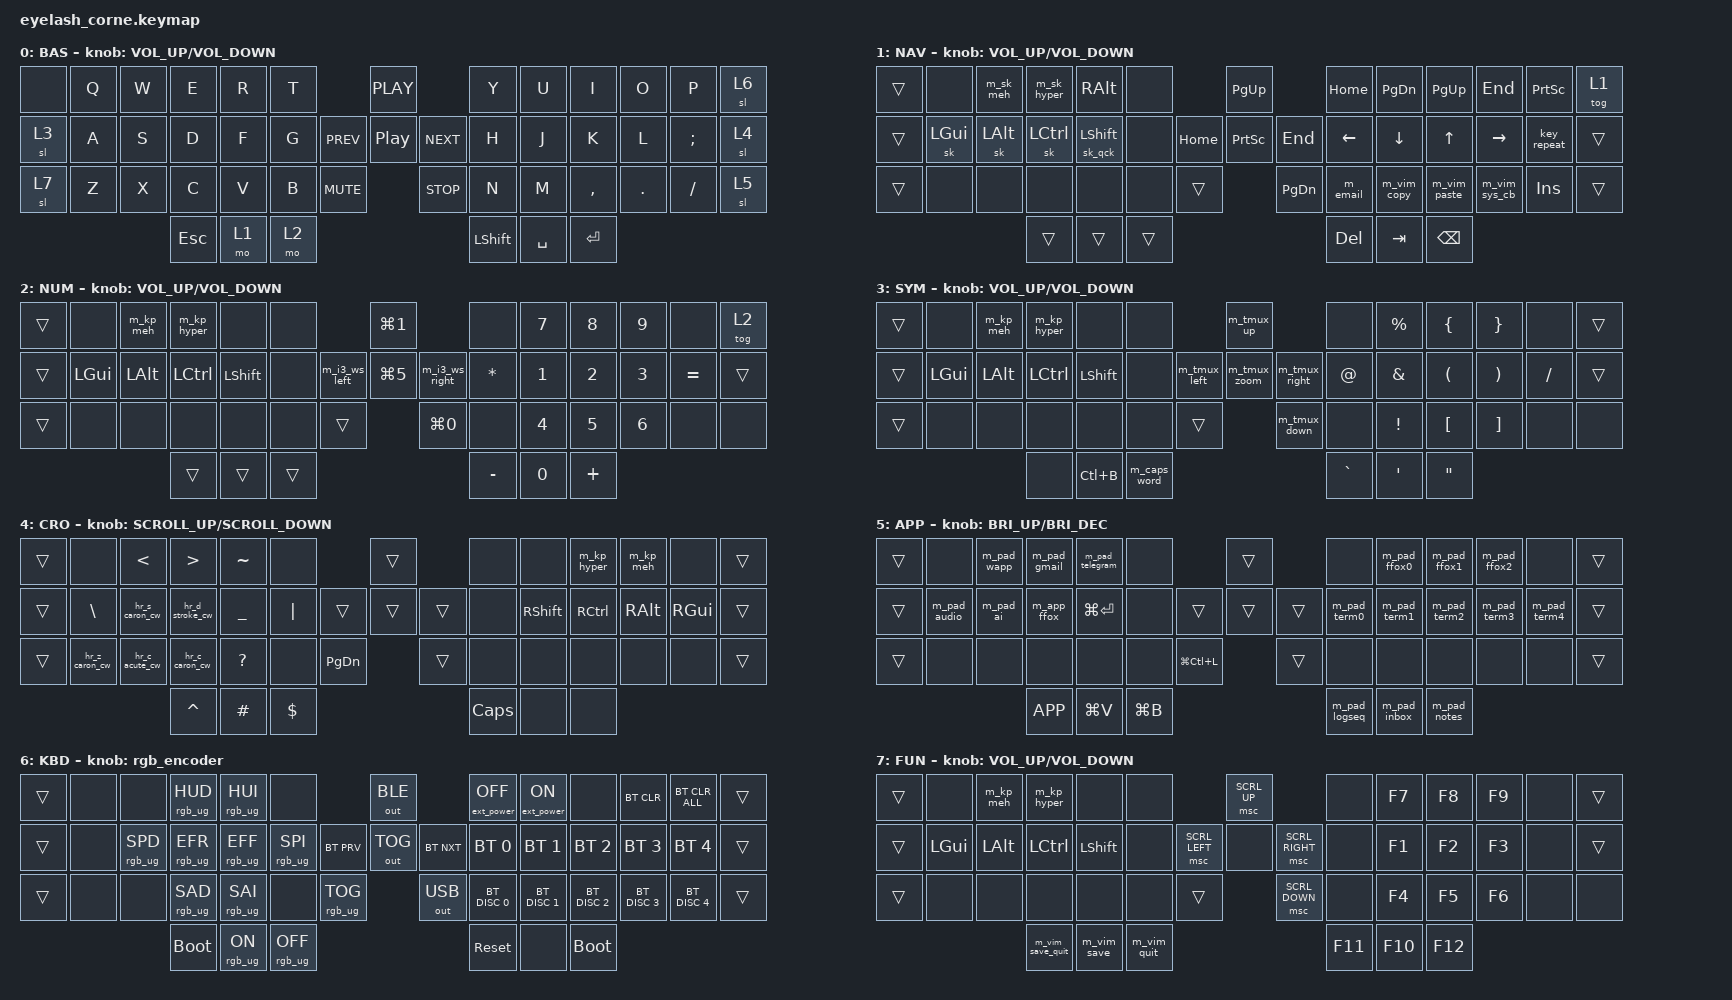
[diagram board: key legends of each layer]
#include <behaviors.dtsi>
#include <dt-bindings/zmk/bt.h>
#include <dt-bindings/zmk/keys.h>
#include <dt-bindings/zmk/mouse.h>
#include <dt-bindings/zmk/outputs.h>
#include <dt-bindings/zmk/pointing.h>
#include <dt-bindings/zmk/rgb.h>
#include <dt-bindings/zmk/ext_power.h>

/ {
    behaviors {
        sk_qck: sk_qck {
          compatible = "zmk,behavior-sticky-key";
          #binding-cells = <1>;
          bindings = <&kp>;
          release-after-ms = <3000>;
          quick-release;
          ignore-modifiers;
        };

        m_email: m_email {
          compatible = "zmk,behavior-macro";
          #binding-cells = <0>;
          wait-ms = <10>;   // Optional: delay between actions
          tap-ms = <10>;    // Optional: hold duration for tap-type actions
          bindings =
            <
              &kp I &kp G &kp O &kp R
              &kp PERIOD
              &kp K &kp O &kp V &kp A &kp C &kp E &kp V &kp I &kp C
              &kp AT
              &kp G &kp M &kp A &kp I &kp L
              &kp PERIOD
              &kp C &kp O &kp M
            >;
        };

        m_vim_copy: m_vim_copy {
          compatible = "zmk,behavior-macro";
          #binding-cells = <0>;
          bindings = <&kp DQT &kp PLUS &kp Y>;
        };

        m_vim_paste: m_vim_paste {
          compatible = "zmk,behavior-macro";
          #binding-cells = <0>;
          bindings = <&kp DQT &kp PLUS &kp P>;
        };

        m_vim_save: m_vim_save {
          compatible = "zmk,behavior-macro";
          #binding-cells = <0>;
          bindings = <&kp COLON &kp W &kp ENTER>;
        };

        m_vim_quit: m_vim_quit {
          compatible = "zmk,behavior-macro";
          #binding-cells = <0>;
          bindings = <&kp COLON &kp Q &kp ENTER>;
        };

        m_vim_save_quit: m_vim_save_quit {
          compatible = "zmk,behavior-macro";
          #binding-cells = <0>;
          bindings = <&kp COLON &kp W &kp Q &kp ENTER>;
        };


        m_vim_sys_cb: m_vim_sys_cb {
          compatible = "zmk,behavior-macro";
          #binding-cells = <0>;
          bindings = <&kp DQT &kp PLUS>;
        };

        m_sk_meh: m_sk_meh {
          compatible = "zmk,behavior-macro";
          #binding-cells = <0>;
          bindings = <&sk LA(LC(LSHIFT))>;
        };

        m_sk_hyper: m_sk_hyper {
          compatible = "zmk,behavior-macro";
          #binding-cells = <0>;
          bindings = <&sk LG(LA(LC(LSHIFT)))>;
        };

        m_kp_meh: m_kp_meh {
          compatible = "zmk,behavior-macro";
          #binding-cells = <0>;
          bindings = <&kp LA(LC(LSHIFT))>;
        };

        m_kp_hyper: m_kp_hyper {
          compatible = "zmk,behavior-macro";
          #binding-cells = <0>;
          bindings = <&kp LG(LA(LC(LSHIFT)))>;
        };

        m_i3_ws_left: m_i3_ws_left {
          compatible = "zmk,behavior-macro";
          #binding-cells = <0>;
          bindings = <&kp LG(LA(LC(LS(LEFT))))>;
        };

        m_i3_ws_right: m_i3_ws_right {
          compatible = "zmk,behavior-macro";
          #binding-cells = <0>;
          bindings = <&kp LG(LA(LC(LS(RIGHT))))>;
        };

        m_tmux_up: m_tmux_up {
          compatible = "zmk,behavior-macro";
          #binding-cells = <0>;
          bindings = <&kp LC(B) &kp K>;
        };

        m_tmux_down: m_tmux_down {
          compatible = "zmk,behavior-macro";
          #binding-cells = <0>;
          bindings = <&kp LC(B) &kp J>;
        };

        m_tmux_left: m_tmux_left {
          compatible = "zmk,behavior-macro";
          #binding-cells = <0>;
          bindings = <&kp LC(B) &kp H>;
        };

        m_tmux_right: m_tmux_right {
          compatible = "zmk,behavior-macro";
          #binding-cells = <0>;
          bindings = <&kp LC(B) &kp L>;
        };

        m_tmux_zoom: m_tmux_zoom {
          compatible = "zmk,behavior-macro";
          #binding-cells = <0>;
          bindings = <&kp LC(B) &kp Z>;
        };

        m_pad_wapp: m_pad_wapp {
          compatible = "zmk,behavior-macro";
          #binding-cells = <0>;
          bindings = <&kp LG(P) &kp W>;
        };

        m_pad_gmail: m_pad_gmail {
          compatible = "zmk,behavior-macro";
          #binding-cells = <0>;
          bindings = <&kp LG(P) &kp M>;
        };

        m_pad_telegram: m_pad_telegram {
          compatible = "zmk,behavior-macro";
          #binding-cells = <0>;
          bindings = <&kp LG(P) &kp T>;
        };

        m_pad_logseq: m_pad_logseq {
          compatible = "zmk,behavior-macro";
          #binding-cells = <0>;
          bindings = <&kp LG(P) &kp L>;
        };

        m_pad_inbox: m_pad_inbox {
          compatible = "zmk,behavior-macro";
          #binding-cells = <0>;
          bindings = <&kp LG(P) &kp I>;
        };

        m_pad_notes: m_pad_notes {
          compatible = "zmk,behavior-macro";
          #binding-cells = <0>;
          bindings = <&kp LG(P) &kp N>;
        };

        m_pad_ffox0: m_pad_ffox0 {
          compatible = "zmk,behavior-macro";
          #binding-cells = <0>;
          bindings = <&kp LG(P) &kp N7>;
        };

        m_pad_ffox1: m_pad_ffox1 {
          compatible = "zmk,behavior-macro";
          #binding-cells = <0>;
          bindings = <&kp LG(P) &kp N8>;
        };

        m_pad_ffox2: m_pad_ffox2 {
          compatible = "zmk,behavior-macro";
          #binding-cells = <0>;
          bindings = <&kp LG(P) &kp N9>;
        };

        m_pad_audio: m_pad_audio {
          compatible = "zmk,behavior-macro";
          #binding-cells = <0>;
          bindings = <&kp LG(P) &kp A>;
        };

        m_pad_ai: m_pad_ai {
          compatible = "zmk,behavior-macro";
          #binding-cells = <0>;
          bindings = <&kp LG(P) &kp C>;
        };

        m_pad_term0: m_pad_term0 {
          compatible = "zmk,behavior-macro";
          #binding-cells = <0>;
          bindings = <&kp LG(P) &kp N0>;
        };

        m_pad_term1: m_pad_term1 {
          compatible = "zmk,behavior-macro";
          #binding-cells = <0>;
          bindings = <&kp LG(P) &kp N1>;
        };

        m_pad_term2: m_pad_term2 {
          compatible = "zmk,behavior-macro";
          #binding-cells = <0>;
          bindings = <&kp LG(P) &kp N2>;
        };

        m_pad_term3: m_pad_term3 {
          compatible = "zmk,behavior-macro";
          #binding-cells = <0>;
          bindings = <&kp LG(P) &kp N3>;
        };

        m_pad_term4: m_pad_term4 {
          compatible = "zmk,behavior-macro";
          #binding-cells = <0>;
          bindings = <&kp LG(P) &kp N4>;
        };

        m_app_ffox: m_app_ffox {
          compatible = "zmk,behavior-macro";
          #binding-cells = <0>;
          bindings = <&kp LG(X) &kp F>;
        };

        m_app_term: m_app_term {
          compatible = "zmk,behavior-macro";
          #binding-cells = <0>;
          bindings = <&kp LG(X) &kp F>;
        };

        // Croatian characters with caps word support
        hr_c_acute_cw: hr_c_acute_cw {
          compatible = "zmk,behavior-mod-morph";
          #binding-cells = <0>;
          mods = <(MOD_LSFT|MOD_RSFT)>;
          bindings = <&m_hr_c_acute>, <&m_hr_c_acute_upper>;
        };

        hr_c_caron_cw: hr_c_caron_cw {
          compatible = "zmk,behavior-mod-morph";
          #binding-cells = <0>;
          mods = <(MOD_LSFT|MOD_RSFT)>;
          bindings = <&m_hr_c_caron>, <&m_hr_c_caron_upper>;
        };

        hr_d_stroke_cw: hr_d_stroke_cw {
          compatible = "zmk,behavior-mod-morph";
          #binding-cells = <0>;
          mods = <(MOD_LSFT|MOD_RSFT)>;
          bindings = <&m_hr_d_stroke>, <&m_hr_d_stroke_upper>;
        };

        hr_s_caron_cw: hr_s_caron_cw {
          compatible = "zmk,behavior-mod-morph";
          #binding-cells = <0>;
          mods = <(MOD_LSFT|MOD_RSFT)>;
          bindings = <&m_hr_s_caron>, <&m_hr_s_caron_upper>;
        };

        hr_z_caron_cw: hr_z_caron_cw {
          compatible = "zmk,behavior-mod-morph";
          #binding-cells = <0>;
          mods = <(MOD_LSFT|MOD_RSFT)>;
          bindings = <&m_hr_z_caron>, <&m_hr_z_caron_upper>;
        };

        m_caps_word: m_caps_word {
          compatible = "zmk,behavior-macro";
          wait-ms = <10>;
          #binding-cells = <0>;
          bindings = <&kp F24 &caps_word>;
        };

        // Croatian character macros - lowercase
        m_hr_c_acute: m_hr_c_acute {
          compatible = "zmk,behavior-macro";
          #binding-cells = <0>;
          wait-ms = <10>;
          tap-ms = <10>;
          bindings = <&kp RALT &kp N1 &kp C>;
        };

        m_hr_c_caron: m_hr_c_caron {
          compatible = "zmk,behavior-macro";
          #binding-cells = <0>;
          wait-ms = <10>;
          tap-ms = <10>;
          bindings = <&kp RALT &kp N2 &kp C>;
        };

        m_hr_d_stroke: m_hr_d_stroke {
          compatible = "zmk,behavior-macro";
          #binding-cells = <0>;
          wait-ms = <10>;
          tap-ms = <10>;
          bindings = <&kp RALT &kp N3 &kp D>;
        };

        m_hr_s_caron: m_hr_s_caron {
          compatible = "zmk,behavior-macro";
          #binding-cells = <0>;
          wait-ms = <10>;
          tap-ms = <10>;
          bindings = <&kp RALT &kp N4 &kp S>;
        };

        m_hr_z_caron: m_hr_z_caron {
          compatible = "zmk,behavior-macro";
          #binding-cells = <0>;
          wait-ms = <10>;
          tap-ms = <10>;
          bindings = <&kp RALT &kp N5 &kp Z>;
        };

        // Croatian character macros - uppercase
        m_hr_c_acute_upper: m_hr_c_acute_upper {
          compatible = "zmk,behavior-macro";
          #binding-cells = <0>;
          wait-ms = <10>;
          tap-ms = <10>;
          bindings = <&kp RALT &kp N1 &kp LS(C)>;
        };

        m_hr_c_caron_upper: m_hr_c_caron_upper {
          compatible = "zmk,behavior-macro";
          #binding-cells = <0>;
          wait-ms = <10>;
          tap-ms = <10>;
          bindings = <&kp RALT &kp N2 &kp LS(C)>;
        };

        m_hr_d_stroke_upper: m_hr_d_stroke_upper {
          compatible = "zmk,behavior-macro";
          #binding-cells = <0>;
          wait-ms = <10>;
          tap-ms = <10>;
          bindings = <&kp RALT &kp N3 &kp LS(D)>;
        };

        m_hr_s_caron_upper: m_hr_s_caron_upper {
          compatible = "zmk,behavior-macro";
          #binding-cells = <0>;
          wait-ms = <10>;
          tap-ms = <10>;
          bindings = <&kp RALT &kp N4 &kp LS(S)>;
        };

        m_hr_z_caron_upper: m_hr_z_caron_upper {
          compatible = "zmk,behavior-macro";
          #binding-cells = <0>;
          wait-ms = <10>;
          tap-ms = <10>;
          bindings = <&kp RALT &kp N5 &kp LS(Z)>;
        };

        // Croatian character mod-morph behaviors
        hr_c_acute: hr_c_acute {
          compatible = "zmk,behavior-mod-morph";
          #binding-cells = <0>;
          mods = <(MOD_LSFT|MOD_RSFT)>;
          bindings = <&m_hr_c_acute>, <&m_hr_c_acute_upper>;
        };

        hr_c_caron: hr_c_caron {
          compatible = "zmk,behavior-mod-morph";
          #binding-cells = <0>;
          mods = <(MOD_LSFT|MOD_RSFT)>;
          bindings = <&m_hr_c_caron>, <&m_hr_c_caron_upper>;
        };

        hr_d_stroke: hr_d_stroke {
          compatible = "zmk,behavior-mod-morph";
          #binding-cells = <0>;
          mods = <(MOD_LSFT|MOD_RSFT)>;
          bindings = <&m_hr_d_stroke>, <&m_hr_d_stroke_upper>;
        };

        hr_s_caron: hr_s_caron {
          compatible = "zmk,behavior-mod-morph";
          #binding-cells = <0>;
          mods = <(MOD_LSFT|MOD_RSFT)>;
          bindings = <&m_hr_s_caron>, <&m_hr_s_caron_upper>;
        };

        hr_z_caron: hr_z_caron {
          compatible = "zmk,behavior-mod-morph";
          #binding-cells = <0>;
          mods = <(MOD_LSFT|MOD_RSFT)>;
          bindings = <&m_hr_z_caron>, <&m_hr_z_caron_upper>;
        };
    };

    rgb_encoder: rgb_encoder {
        compatible = "zmk,behavior-sensor-rotate";
        #sensor-binding-cells = <0>;
        bindings = <&rgb_ug RGB_BRI>, <&rgb_ug RGB_BRD>;
    };

    keymap {
        compatible = "zmk,keymap";



  //////////////////////////////////////////////////////////////////////////////////////////////////////////////////////////////////////////////////////////////////////////////////////////////////////////////////////////////////////////////////////////////////////////////////////////////////////
  //  L0: BAS - Base Layer
  //////////////////////////////////////////////////////////////////////////////////////////////////////////////////////////////////////////////////////////////////////////////////////////////////////////////////////////////////////////////////////////////////////////////////////////////////////

        default_layer {
            display-name = "BAS";
            bindings = <
/* +----------------+----------------+----------------+----------------+----------------+----------------+                                            +----------------+                         +----------------+----------------+----------------+----------------+----------------+----------------+
   | L: MOU         | Q              | W              | E              | R              | T              |                                            | PLAY           |                         | Y              | U              | I              | O              | P              | L: KBD         |
   +----------------+----------------+----------------+----------------+----------------+----------------+                                            +----------------+                         +----------------+----------------+----------------+----------------+----------------+----------------+  */
    &none            &kp Q            &kp W            &kp E            &kp R            &kp T                                                         &kp C_PLAY                                 &kp Y            &kp U            &kp I            &kp O            &kp P            &sl 6

/* +----------------+----------------+----------------+----------------+----------------+----------------+                           +----------------+----------------+----------------+        +----------------+----------------+----------------+----------------+----------------+----------------+
   | L: SYM         | A              | S              | D              | F          *** | G              |                           | PREV MEDIA     | PLAY/PAUSE     | NEXT MEDIA     |        | H              | J          *** | K              | L              | ; :            | L: CRO         |
   +----------------+----------------+----------------+----------------+----------------+----------------+                           +----------------+----------------+----------------+        +----------------+----------------+----------------+----------------+----------------+----------------+  */
    &sl 3            &kp A            &kp S            &kp D            &kp F            &kp G                                        &kp C_PREV       &kp C_PP         &kp C_NEXT                &kp H            &kp J            &kp K            &kp L            &kp SEMI         &sl 4

/* +----------------+----------------+----------------+----------------+----------------+----------------+      +----------------+                    +----------------+                         +----------------+----------------+----------------+----------------+----------------+----------------+
   | L: FUN         | Z              | X              | C              | V              | B              |      | VOLUME / MUTE  |                    | STOP           |                         | N              | M              | , '            | . "            | / ?            | L: APP         |
   +----------------+----------------+----------------+----------------+----------------+----------------+      +----------------+                    +----------------+                         +----------------+----------------+----------------+----------------+----------------+----------------+  */
    &sl 7            &kp Z            &kp X            &kp C            &kp V            &kp B                   &kp C_MUTE                            &kp C_STOP                                 &kp N            &kp M            &kp COMMA        &kp DOT          &kp FSLH         &sl 5

/*                                                    +----------------+----------------+----------------+                                                                                       +----------------+----------------+----------------+
                                                      | ESC            | L: NAS         | L: NUM         |                                                                                       | SHIFT          | SPACE          | ENTER          |
                                                      +----------------+----------------+----------------+                                                                                       +----------------+----------------+----------------+  */
                                                       &kp ESC          &mo 1            &mo 2                                                                                                    &kp LSHFT        &kp SPACE        &kp ENTER
            >;
            sensor-bindings = <&inc_dec_kp C_VOLUME_UP C_VOLUME_DOWN>;
        };



  //////////////////////////////////////////////////////////////////////////////////////////////////////////////////////////////////////////////////////////////////////////////////////////////////////////////////////////////////////////////////////////////////////////////////////////////////////
  //  L1: NAV - Navigation Layer (with Sticky Mods)
  //////////////////////////////////////////////////////////////////////////////////////////////////////////////////////////////////////////////////////////////////////////////////////////////////////////////////////////////////////////////////////////////////////////////////////////////////////
        layer_nav {
            display-name = "NAV";
            bindings = <
/* +----------------+----------------+----------------+----------------+----------------+----------------+                                            +----------------+                         +----------------+----------------+----------------+----------------+----------------+----------------+
   | [L: MOU]       |                | MEH (sk)       | HYPER (sk)     | RALT/Comose    |                |                                            | PAGE UP        |                         | HOME           | PAGE DOWN      | PAGE UP        | END            | PRINT SCREEN   | LOCK LAYER     |
   +----------------+----------------+----------------+----------------+----------------+----------------+                                            +----------------+                         +----------------+----------------+----------------+----------------+----------------+----------------+  */
    &trans           &none            &m_sk_meh        &m_sk_hyper      &kp RALT         &none                                                         &kp PG_UP                                  &kp HOME         &kp PG_DN        &kp PG_UP        &kp END          &kp PSCRN        &tog 1

/* +----------------+----------------+----------------+----------------+----------------+----------------+                           +----------------+----------------+----------------+        +----------------+----------------+----------------+----------------+----------------+----------------+
   | [L: SYM]       | GUI (sk)       | ALT (sk)       | CTRL (sk)      | SHIFT (sk) *** |                |                           | HOME           | PRINT SCREEN   | END            |        | LEFT           | DOWN       *** | UP             | RIGHT          | REPEAT         | [L: CRO]       |
   +----------------+----------------+----------------+----------------+----------------+----------------+                           +----------------+----------------+----------------+        +----------------+----------------+----------------+----------------+----------------+----------------+  */
    &trans           &sk LGUI         &sk LALT         &sk LCTRL        &sk_qck LSHIFT   &none                                        &kp HOME         &kp PSCRN        &kp END                   &kp LEFT         &kp DOWN         &kp UP           &kp RIGHT        &key_repeat      &trans

/* +----------------+----------------+----------------+----------------+----------------+----------------+      +----------------+                    +----------------+                         +----------------+----------------+----------------+----------------+----------------+----------------+
   | [L: FUN]       |                |                |                |                |                |      | VOLUME / MUTE  |                    | PAGE DOWN      |                         | E-MAIL         | VIM COPY       | VIM PASTE      | VIM SYS CLPB   | INSERT         | [L: APP]       |
   +----------------+----------------+----------------+----------------+----------------+----------------+      +----------------+                    +----------------+                         +----------------+----------------+----------------+----------------+----------------+----------------+  */
    &trans           &none            &none            &none            &none            &none                   &trans                                &kp PG_DN                                  &m_email         &m_vim_copy      &m_vim_paste     &m_vim_sys_cb    &kp INSERT       &trans


/*                                                    +----------------+----------------+----------------+                                                                                       +----------------+----------------+----------------+
                                                      | [ESC]          | XXXXXXXX       | [L: NUM]       |                                                                                       | DELETE         | TAB            | BACK SPACE     |
                                                      +----------------+----------------+----------------+                                                                                       +----------------+----------------+----------------+  */
                                                       &trans           &trans           &trans                                                                                                   &kp DEL          &kp TAB          &kp BSPC
            >;
            sensor-bindings = <&inc_dec_kp C_VOLUME_UP C_VOLUME_DOWN>;
        };



  //////////////////////////////////////////////////////////////////////////////////////////////////////////////////////////////////////////////////////////////////////////////////////////////////////////////////////////////////////////////////////////////////////////////////////////////////////
  //  L2: NUM - Numeric Layer
  //////////////////////////////////////////////////////////////////////////////////////////////////////////////////////////////////////////////////////////////////////////////////////////////////////////////////////////////////////////////////////////////////////////////////////////////////////

        layer_num {
            display-name = "NUM";
            bindings = <
/* +----------------+----------------+----------------+----------------+----------------+----------------+                                            +----------------+                         +----------------+----------------+----------------+----------------+----------------+----------------+
   |                |                | MEH            | HYPER          |                |                |                                            | WS 1 (first)   |                         |                | 7              | 8              | 9              |                | LOCK LAYER     |
   +----------------+----------------+----------------+----------------+----------------+----------------+                                            +----------------+                         +----------------+----------------+----------------+----------------+----------------+----------------+  */
    &trans           &none            &m_kp_meh        &m_kp_hyper      &none            &none                                                         &kp LG(N1)                                 &none            &kp N7           &kp N8           &kp N9           &none            &tog 2

/* +----------------+----------------+----------------+----------------+----------------+----------------+                           +----------------+----------------+----------------+        +----------------+----------------+----------------+----------------+----------------+----------------+
   | [L: SYM]       | GUI            | ALT            | CTRL           | SHIFT      *** |                |                           | PREV WS        | WS 5           | NEXT WS        |        | *              | 1          *** | 2              | 3              | =              | [L: CRO]       |
   +----------------+----------------+----------------+----------------+----------------+----------------+                           +----------------+----------------+----------------+        +----------------+----------------+----------------+----------------+----------------+----------------+  */
    &trans           &kp LGUI         &kp LALT         &kp LCTRL        &kp LSHFT        &none                                        &m_i3_ws_left    &kp LG(N5)       &m_i3_ws_right            &kp ASTERISK     &kp N1           &kp N2           &kp N3           &kp EQUAL        &trans

/* +----------------+----------------+----------------+----------------+----------------+----------------+      +----------------+                    +----------------+                         +----------------+----------------+----------------+----------------+----------------+----------------+
   | [L: FUN]       |                |                |                |                |                |      | VOLUME / MUTE  |                    | WS 10 (last)   |                         |                | 4              | 5              | 6              |                | [L: APP]       |
   +----------------+----------------+----------------+----------------+----------------+----------------+      +----------------+                    +----------------+                         +----------------+----------------+----------------+----------------+----------------+----------------+  */
    &trans           &none            &none            &none            &none            &none                   &trans                                &kp LG(N0)                                 &none            &kp N4           &kp N5           &kp N6           &none            &none

/*                                                    +----------------+----------------+----------------+                                                                                       +----------------+----------------+----------------+
                                                      | [ESC]          | XXXXXXXX       | [L: NUM]       |                                                                                       | -              | 0              | +              |
                                                      +----------------+----------------+----------------+                                                                                       +----------------+----------------+----------------+  */
                                                       &trans           &trans           &trans                                                                                                   &kp MINUS        &kp N0           &kp PLUS
            >;
            sensor-bindings = <&inc_dec_kp C_VOLUME_UP C_VOLUME_DOWN>;
        };



  //////////////////////////////////////////////////////////////////////////////////////////////////////////////////////////////////////////////////////////////////////////////////////////////////////////////////////////////////////////////////////////////////////////////////////////////////////
  //  L3: SYM - Symbols Layer
  //////////////////////////////////////////////////////////////////////////////////////////////////////////////////////////////////////////////////////////////////////////////////////////////////////////////////////////////////////////////////////////////////////////////////////////////////////

        layer_sym {
            display-name = "SYM";
            bindings = <
/* +----------------+----------------+----------------+----------------+----------------+----------------+                                            +----------------+                         +----------------+----------------+----------------+----------------+----------------+----------------+
   |                |                | MEH            | HYPER          |                |                |                                            | TMUX UP        |                         |                | %              | {              | }              |                | [L: KBD]       |
   +----------------+----------------+----------------+----------------+----------------+----------------+                                            +----------------+                         +----------------+----------------+----------------+----------------+----------------+----------------+  */
    &trans           &none            &m_kp_meh        &m_kp_hyper      &none            &none                                                         &m_tmux_up                                 &none            &kp PRCNT        &kp LBRC         &kp RBRC         &none            &trans

/* +----------------+----------------+----------------+----------------+----------------+----------------+                           +----------------+----------------+----------------+        +----------------+----------------+----------------+----------------+----------------+----------------+
   | [L: SYM]       | GUI            | ALT            | CTRL           | SHIFT      *** |                |                           | TMUX LEFT      | TMUX ZOOM      | TMUX RIGHT     |        | @              | &          *** | (              | )              | /              | [L: CRO]       |
   +----------------+----------------+----------------+----------------+----------------+----------------+                           +----------------+----------------+----------------+        +----------------+----------------+----------------+----------------+----------------+----------------+  */
    &trans           &kp LGUI         &kp LALT         &kp LCTRL        &kp LSHFT        &none                                        &m_tmux_left     &m_tmux_zoom     &m_tmux_right             &kp AT           &kp AMPS         &kp LPAR         &kp RPAR         &kp FSLH         &trans

/* +----------------+----------------+----------------+----------------+----------------+----------------+      +----------------+                    +----------------+                         +----------------+----------------+----------------+----------------+----------------+----------------+
   | [L: FUN]       |                |                |                |                |                |      | VOLUME / MUTE  |                    | TMUX DOWN      |                         |                | !              | [              | ]              |                | [L: APP]       |
   +----------------+----------------+----------------+----------------+----------------+----------------+      +----------------+                    +----------------+                         +----------------+----------------+----------------+----------------+----------------+----------------+  */
    &trans           &none            &none            &none            &none            &none                   &trans                                &m_tmux_down                               &none            &kp EXCL         &kp LBKT         &kp RBKT         &none            &none

/*                                                    +----------------+----------------+----------------+                                                                                       +----------------+----------------+----------------+
                                                      |                | TMUX LEADER    | CAPS WORD      |                                                                                       | `              | '              | "              |
                                                      +----------------+----------------+----------------+                                                                                       +----------------+----------------+----------------+  */
                                                       &none            &kp LC(B)        &m_caps_word                                                                                             &kp GRAVE        &kp SQT           &kp DQT
            >;
            sensor-bindings = <&inc_dec_kp C_VOLUME_UP C_VOLUME_DOWN>;
        };


  //////////////////////////////////////////////////////////////////////////////////////////////////////////////////////////////////////////////////////////////////////////////////////////////////////////////////////////////////////////////////////////////////////////////////////////////////////
  //  L4: CRO - Croatian Symbols Layer
  //////////////////////////////////////////////////////////////////////////////////////////////////////////////////////////////////////////////////////////////////////////////////////////////////////////////////////////////////////////////////////////////////////////////////////////////////////

        layer_cro {
            display-name = "CRO";
            bindings = <
/* +----------------+----------------+----------------+----------------+----------------+----------------+                                            +----------------+                         +----------------+----------------+----------------+----------------+----------------+----------------+
   |                |                | <              | >              | ~              |                |                                            | [PLAY]         |                         |                |                | HYPER          | MEH            |                | [L: KBD]       |
   +----------------+----------------+----------------+----------------+----------------+----------------+                                            +----------------+                         +----------------+----------------+----------------+----------------+----------------+----------------+  */
    &trans           &none            &kp LT           &kp GT           &kp TILDE        &none                                                         &trans                                     &none            &none            &m_kp_hyper      &m_kp_meh        &none            &trans

/* +----------------+----------------+----------------+----------------+----------------+----------------+                           +----------------+----------------+----------------+        +----------------+----------------+----------------+----------------+----------------+----------------+
   | [L: SYM]       | \              | Š              | Đ              | _          *** | |              |                           | [PREV]         | [PAUSE]        | [NEXT]         |        |                | RSHIFT     *** | RCTRL          | RALT           | RGUI           | [L: CRO]       |
   +----------------+----------------+----------------+----------------+----------------+----------------+                           +----------------+----------------+----------------+        +----------------+----------------+----------------+----------------+----------------+----------------+  */
    &trans           &kp BSLH         &hr_s_caron_cw   &hr_d_stroke_cw  &kp UNDER        &kp PIPE                                     &trans           &trans           &trans                    &none            &kp RSHFT        &kp RCTRL        &kp RALT         &kp RGUI         &trans

/* +----------------+----------------+----------------+----------------+----------------+----------------+      +----------------+                    +----------------+                         +----------------+----------------+----------------+----------------+----------------+----------------+
   | [L: FUN]       | Ž              | Ć              | Č              | ?              |                |      | SCROLL WHEEL   |                    | [STOP]         |                         |                |                |                |                |                | [L: APP]       |
   +----------------+----------------+----------------+----------------+----------------+----------------+      +----------------+                    +----------------+                         +----------------+----------------+----------------+----------------+----------------+----------------+  */
    &trans           &hr_z_caron_cw   &hr_c_acute_cw   &hr_c_caron_cw   &kp QMARK        &none                   &kp PG_DN                             &trans                                     &none            &none            &none            &none            &none            &trans

/*                                                    +----------------+----------------+----------------+                                                                                       +----------------+----------------+----------------+
                                                      | ^              | #              | $              |                                                                                       | CAPS LOCK      |                |                |
                                                      +----------------+----------------+----------------+                                                                                       +----------------+----------------+----------------+  */
                                                       &kp CARET        &kp HASH         &kp DLLR                                                                                                 &kp CLCK         &none            &none
            >;
            sensor-bindings = <&inc_dec_kp K_SCROLL_UP K_SCROLL_DOWN>;
        };



  //////////////////////////////////////////////////////////////////////////////////////////////////////////////////////////////////////////////////////////////////////////////////////////////////////////////////////////////////////////////////////////////////////////////////////////////////////
  //  L5: APP - Application Layer
  //////////////////////////////////////////////////////////////////////////////////////////////////////////////////////////////////////////////////////////////////////////////////////////////////////////////////////////////////////////////////////////////////////////////////////////////////////

        layer_app {
            display-name = "APP";
            bindings = <
/* +----------------+----------------+----------------+----------------+----------------+----------------+                                            +----------------+                         +----------------+----------------+----------------+----------------+----------------+----------------+
   |                |                | WAPP (Pad)     | GMAIL (Pad)    | Telegram (Pad) |                |                                            | [PLAY]         |                         |                | FFOX (Pad)     | FFOX (Pad)     | FFOX (Pad)     |                | [L: KBD]       |
   +----------------+----------------+----------------+----------------+----------------+----------------+                                            +----------------+                         +----------------+----------------+----------------+----------------+----------------+----------------+  */
    &trans           &none            &m_pad_wapp      &m_pad_gmail     &m_pad_telegram  &none                                                         &trans                                     &none            &m_pad_ffox0     &m_pad_ffox1     &m_pad_ffox2     &none            &trans

/* +----------------+----------------+----------------+----------------+----------------+----------------+                           +----------------+----------------+----------------+        +----------------+----------------+----------------+----------------+----------------+----------------+
   | [L: SYM]       | AUDIO (Pad)    | AI/GPT (Pad)   | FFOX           | TERM       *** |                |                           | [PREV]         | [PAUSE]        | [NEXT]         |        | TERM0 (Pad)    | TERM1 (Pad)  * | TERM2 (Pad)    | TERM3 (Pad)    | TERM4 (Pad)    | [L: CRO]       |
   +----------------+----------------+----------------+----------------+----------------+----------------+                           +----------------+----------------+----------------+        +----------------+----------------+----------------+----------------+----------------+----------------+  */
    &trans           &m_pad_audio     &m_pad_ai        &m_app_ffox      &kp LG(ENTER)    &none                                        &trans           &trans           &trans                    &m_pad_term0     &m_pad_term1     &m_pad_term2     &m_pad_term3     &m_pad_term4     &trans

/* +----------------+----------------+----------------+----------------+----------------+----------------+      +----------------+                    +----------------+                         +----------------+----------------+----------------+----------------+----------------+----------------+
   | [L: FUN]       |                |                |                |                |                |      | LOCK SCREEN    |                    | [STOP]         |                         |                |                |                |                |                | [L: APP]       |
   +----------------+----------------+----------------+----------------+----------------+----------------+      +----------------+                    +----------------+                         +----------------+----------------+----------------+----------------+----------------+----------------+  */
    &trans           &none            &none            &none            &none            &none                   &kp LG(LC(L))                         &trans                                     &none            &none            &none            &none            &none            &trans

/*                                                    +----------------+----------------+----------------+                                                                                       +----------------+----------------+----------------+
                                                      | APP            | SPLIT DOWN     | SPLIT RIGHT    |                                                                                       | CAPS LOCK      | INBOX (Pad)    | NOTES (Pad)    |
                                                      +----------------+----------------+----------------+                                                                                       +----------------+----------------+----------------+  */
                                                       &kp K_APP        &kp LG(V)       &kp LG(B)                                                                                                 &m_pad_logseq    &m_pad_inbox     &m_pad_notes
            >;
            sensor-bindings = <&inc_dec_kp C_BRI_UP C_BRI_DEC>;
        };



  //////////////////////////////////////////////////////////////////////////////////////////////////////////////////////////////////////////////////////////////////////////////////////////////////////////////////////////////////////////////////////////////////////////////////////////////////////
  //  L6: KBD - Keyboard Hardware Layer (BT/LED/FLASH)
  //////////////////////////////////////////////////////////////////////////////////////////////////////////////////////////////////////////////////////////////////////////////////////////////////////////////////////////////////////////////////////////////////////////////////////////////////////

        layer_kbd {
            display-name = "KBD";
            bindings = <
/* +----------------+----------------+----------------+----------------+----------------+----------------+                                            +----------------+                         +----------------+----------------+----------------+----------------+----------------+----------------+
   |                |                |                | RGB HUE-       | RGB HUE+       |                |                                            | OUT BT         |                         | EXT PWR OFF    | EXT PWR ON     |                | BT CLEAR       | BT CLEAR ALL   | [L: KBD]       |
   +----------------+----------------+----------------+----------------+----------------+----------------+                                            +----------------+                         +----------------+----------------+----------------+----------------+----------------+----------------+  */
    &trans           &none            &none            &rgb_ug RGB_HUD  &rgb_ug RGB_HUI  &none                                                         &out OUT_BLE                               &ext_power EP_OFF &ext_power EP_ON &none            &bt BT_CLR      &bt BT_CLR_ALL   &trans

/* +----------------+----------------+----------------+----------------+----------------+----------------+                           +----------------+----------------+----------------+        +----------------+----------------+----------------+----------------+----------------+----------------+
   | [L: SYM]       |                | RGB ANM SPD-   | RGB ANM PREV   | RGB ANM NXT  * | RGB ANM SPD+   |                           | BT PREV        | OUT TOGGLE     | BT NEXT        |        | CONN BT0       | CONN BT1     * | CONN BT2       | CONN BT3       | CONN BT4       | [L: CRO]       |
   +----------------+----------------+----------------+----------------+----------------+----------------+                           +----------------+----------------+----------------+        +----------------+----------------+----------------+----------------+----------------+----------------+  */
    &trans           &none            &rgb_ug RGB_SPD  &rgb_ug RGB_EFR  &rgb_ug RGB_EFF  &rgb_ug RGB_SPI                              &bt BT_PRV       &out OUT_TOG     &bt BT_NXT                &bt BT_SEL 0     &bt BT_SEL 1     &bt BT_SEL 2     &bt BT_SEL 3     &bt BT_SEL 4     &trans

/* +----------------+----------------+----------------+----------------+----------------+----------------+      +----------------+                    +----------------+                         +----------------+----------------+----------------+----------------+----------------+----------------+
   | [L: FUN]       |                |                | RGB SAT-       | RGB SAT+       |                |      | RGB BRIGHTS    |                    | OUT USB        |                         | DISCNT BT0     | DISCNT BT1     | DISCNT BT2     | DISCNT BT3     | DISCNT BT4     | [L: APP]       |
   +----------------+----------------+----------------+----------------+----------------+----------------+      +----------------+                    +----------------+                         +----------------+----------------+----------------+----------------+----------------+----------------+  */
    &trans           &none            &none            &rgb_ug RGB_SAD  &rgb_ug RGB_SAI  &none                   &rgb_ug RGB_TOG                       &out OUT_USB                               &bt BT_DISC 0    &bt BT_DISC 1    &bt BT_DISC 2    &bt BT_DISC 3    &bt BT_DISC 4    &trans

/*                                                    +----------------+----------------+----------------+                                                                                       +----------------+----------------+----------------+
                                                      | FLASH (LEFT)   | RGB ON         | RGB OFF        |                                                                                       | RESET KBD      |                | FLASH (RIGHT)  |
                                                      +----------------+----------------+----------------+                                                                                       +----------------+----------------+----------------+  */
                                                       &bootloader      &rgb_ug RGB_ON   &rgb_ug RGB_OFF                                                                                          &sys_reset       &none            &bootloader
            >;
            sensor-bindings = <&rgb_encoder>;
        };



  //////////////////////////////////////////////////////////////////////////////////////////////////////////////////////////////////////////////////////////////////////////////////////////////////////////////////////////////////////////////////////////////////////////////////////////////////////
  //  L7: FUN - Function Layer
  //////////////////////////////////////////////////////////////////////////////////////////////////////////////////////////////////////////////////////////////////////////////////////////////////////////////////////////////////////////////////////////////////////////////////////////////////////

        layer_fun {
            display-name = "FUN";
            bindings = <
/* +----------------+----------------+----------------+----------------+----------------+----------------+                                            +----------------+                         +----------------+----------------+----------------+----------------+----------------+----------------+
   |                |                | MEH            | HYPER          |                |                |                                            | SCROLL UP      |                         |                | F7             | F8             | F9             |                | [L: KBD]       |
   +----------------+----------------+----------------+----------------+----------------+----------------+                                            +----------------+                         +----------------+----------------+----------------+----------------+----------------+----------------+  */
    &trans           &none            &m_kp_meh        &m_kp_hyper      &none            &none                                                         &msc SCRL_UP                                &none            &kp F7           &kp F8           &kp F9           &none            &trans

/* +----------------+----------------+----------------+----------------+----------------+----------------+                           +----------------+----------------+----------------+        +----------------+----------------+----------------+----------------+----------------+----------------+
   | [L: SYM]       | GUI            | ALT            | CTRL           | SHIFT      *** |                |                           | PREV WS        |                | NEXT WS        |        |                | F1         *** | F2             | F3             |                | [L: CRO]       |
   +----------------+----------------+----------------+----------------+----------------+----------------+                           +----------------+----------------+----------------+        +----------------+----------------+----------------+----------------+----------------+----------------+  */
    &trans           &kp LGUI         &kp LALT         &kp LCTRL        &kp LSHFT        &none                                        &msc SCRL_LEFT   &none            &msc SCRL_RIGHT           &none            &kp F1           &kp F2           &kp F3           &none            &trans

/* +----------------+----------------+----------------+----------------+----------------+----------------+      +----------------+                    +----------------+                         +----------------+----------------+----------------+----------------+----------------+----------------+
   | [L: FUN]       |                |                |                |                |                |      | VOLUME / MUTE  |                    | WS 10 (last)   |                         |                | F4             | F5             | F6             |                | [L: APP]       |
   +----------------+----------------+----------------+----------------+----------------+----------------+      +----------------+                    +----------------+                         +----------------+----------------+----------------+----------------+----------------+----------------+  */
    &trans           &none            &none            &none            &none            &none                   &trans                                &msc SCRL_DOWN                             &none            &kp F4           &kp F5           &kp F6           &none            &none

/*                                                    +----------------+----------------+----------------+                                                                                       +----------------+----------------+----------------+
                                                      | VIM SVE & QIT  | VIM SAVE       | VIM QUIT       |                                                                                       | F11            | F10            | F12            |
                                                      +----------------+----------------+----------------+                                                                                       +----------------+----------------+----------------+  */
                                                       &m_vim_save_quit &m_vim_save      &m_vim_quit                                                                                              &kp F11          &kp F10          &kp F12
            >;
            sensor-bindings = <&inc_dec_kp C_VOLUME_UP C_VOLUME_DOWN>;
        };
    };
};
